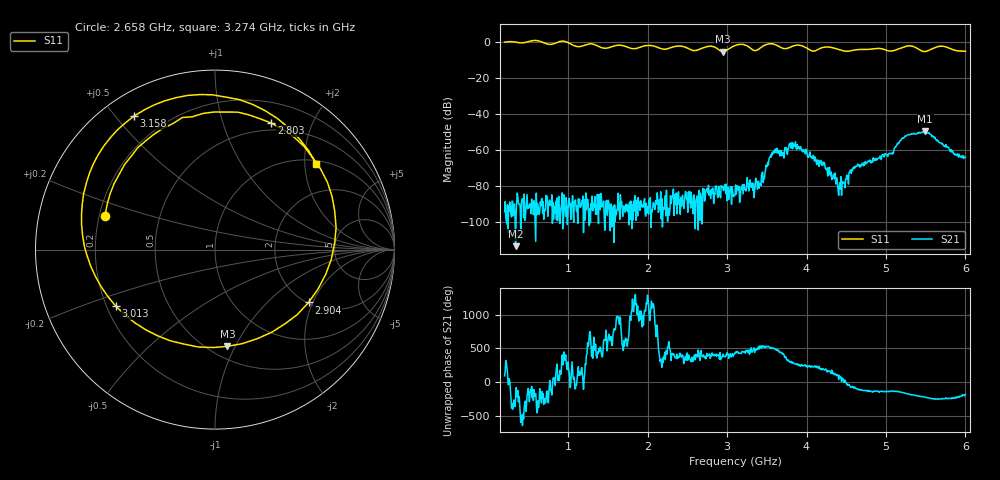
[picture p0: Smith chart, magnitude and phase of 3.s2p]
! NanoVNA-App
! Date: 2024-06-25 16:03:58
! Start: 200MHz Stop: 6GHz Points: 801
! S-Parameter data: F S11 S21 S12 S22
# Hz S RI R 50
!  Frequency  S11_Real  S11_Imag  S21_Real  S21_Imag  S12_Real  S12_Imag  S22_Real  S22_Imag
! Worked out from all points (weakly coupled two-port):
!   801 points, 200 MHz to 6 GHz, reference 50 ohm
!   highest |S21| = -49.47 dB at 5.492 GHz (marker M1); lowest = -113.2 dB at 337.8 MHz (marker M2)
!   lowest |S11| = -5.3 dB at 2.948 GHz (marker M3), VSWR 3.38, Z = 30.5 - j46.6 ohm
!   |S11| at or under -10 dB: nowhere
!   S12 and S22 are empty: the file has one direction only
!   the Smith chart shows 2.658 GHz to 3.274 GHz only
!   S11 on the Smith chart (normalised r, x): 2.658 GHz: 0.22, +0.14; 2.803 GHz: 0.42, +1.46; 2.904 GHz: 2.03, -1.86; 3.013 GHz: 0.24, -0.25; 3.158 GHz: 0.09, +0.56; 3.274 GHz: 1.09, +2.29
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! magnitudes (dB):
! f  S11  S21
! 200 MHz  0.0  -94.0
! 337.8 MHz  0.0  -113.2
! 1.171 GHz  -2.2  -88.1
! 2.136 GHz  -3.0  -94.5
! 2.658 GHz  -3.9  -98.8
! 2.803 GHz  -2.3  -81.7
! 2.904 GHz  -4.5  -85.1
! 2.948 GHz  -5.3  -80.8
! 3.013 GHz  -3.9  -80.5
! 3.1 GHz  -1.9  -84.8
! 3.158 GHz  -1.2  -89.0
! 3.274 GHz  -2.6  -82.5
! 3.397 GHz  -3.9  -77.3
! 3.607 GHz  -1.4  -59.3
! 3.84 GHz  -2.0  -57.9
! 4.072 GHz  -4.9  -64.6
! 4.42 GHz  -4.2  -77.9
! 4.615 GHz  -4.2  -68.9
! 5.036 GHz  -4.8  -61.8
! 5.261 GHz  -2.2  -51.8
! 5.492 GHz  -5.2  -49.5
! 6 GHz  -5.0  -63.8
